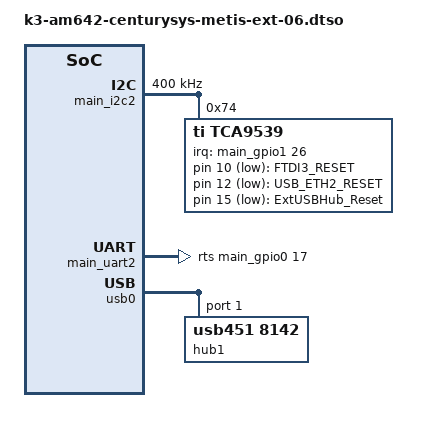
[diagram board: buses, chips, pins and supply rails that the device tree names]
// SPDX-License-Identifier: GPL-2.0
/**
 * DT overlay for RS1244 expansion board on Century Systems MA-X3xx
 *
 * Copyright (C) 2022,2024 Century Systems
 */

/dts-v1/;
/plugin/;
#include <dt-bindings/gpio/gpio.h>
#include <dt-bindings/interrupt-controller/irq.h>
#include <dt-bindings/net/microchip-lan78xx.h>
#include "k3-pinctrl.h"

&{/} {
	aliases {
		ethernet2 = "/bus@f4000/cdns-usb@f900000/usb@f400000/hub@1/hub@1_3/lan7850@1_3_4";
	};
};

&main_pmx0 {
	main_spi0_pins_default: main-spi0-pins-default {
		pinctrl-single,pins = <
			AM64X_IOPAD(0x0210, PIN_INPUT, 0) /* (D13) SPI0_CLK */
			AM64X_IOPAD(0x0208, PIN_OUTPUT, 0) /* (D12) SPI0_CS0 */
			AM64X_IOPAD(0x020c, PIN_OUTPUT, 0) /* (C13) SPI0_CS1 */
			AM64X_IOPAD(0x0214, PIN_OUTPUT, 0) /* (A13) SPI0_D0 */
			AM64X_IOPAD(0x0218, PIN_INPUT, 0) /* (A14) SPI0_D1 */
		>;
	};

	main_uart2_rs485_pins_default: main-uart2-rs485-default-pins {
		pinctrl-single,pins = <
			AM64X_IOPAD(0x003c, PIN_INPUT, 2) 		/* (T20) UART2_RXD */
			AM64X_IOPAD(0x0040, PIN_OUTPUT, 2)		/* (U21) UART2_TXD */
			AM64X_IOPAD(0x0044, PIN_OUTPUT, 7)		/* (T18) GPIO0_17 */
		>;
	};

	main_i2c2_tca9539_pins_default: main-i2c2-tca9539-pins-default {
		pinctrl-single,pins = <
			AM64X_IOPAD(0x01c8, PIN_INPUT, 7) /* (R5) PRG0_PRU1_GPO6.GPIO1_26 */
		>;
	};

	main_i2c2_pca9505_3e_pins_default: main-i2c2-pca9505-3e-pins-default {
		pinctrl-single,pins = <
			AM64X_IOPAD(0x021c, PIN_INPUT, 7) /* (B14) SPI1_CS0.GPIO1_47 */
		>;
	};

	main_spi0_mcp251863_pins_default: main-spi0-mcp251863-pins-default {
		pinctrl-single,pins = <
			AM64X_IOPAD(0x0220, PIN_INPUT, 7) /* (D14) SPI1_CS1.GPIO1_48 */
		>;
	};
};

&main_i2c2 {
	#address-cells = <1>;
	#size-cells = <0>;
	pinctrl-names = "default";
	pinctrl-0 = <&main_i2c2_pins_default>;
	clock-frequency = <400000>;
	status = "okay";

	tca9539: tca9539@74 {
		compatible = "ti,tca9539";
		reg = <0x74>;
		#address-cells = <1>;
		#size-cells = <0>;
		gpio-controller;
		#gpio-cells = <2>;
		pinctrl-names = "default";
		pinctrl-0 = <&main_i2c2_tca9539_pins_default>;
		interrupt-parent = <&main_gpio1>;
		interrupts = <26 IRQ_TYPE_EDGE_FALLING>;
		interrupt-controller;
		#interrupt-cells = <2>;

		gpio-line-names = "MSP430_EXT1_RST",
				  "MSP430_EXT1_TEST",
				  "",
				  "",
				  "",
				  "",
				  "",
				  "",
				  "FTDI1_RESET_N",
				  "FTDI2_RESET_N",
				  "FTDI3_RESET_N",
				  "CAN_LDO5V_EN",
				  "ETH2_RESET_N",
				  "",
				  "",
				  "ExtUSB_HUB_RESET";
	};
};

&main_uart2 {
	pinctrl-names = "default";
	pinctrl-0 = <&main_uart2_rs485_pins_default>;
	linux,rs485-enabled-at-boot-time;
	rts-gpios = <&main_gpio0 17 GPIO_ACTIVE_HIGH>;
	status = "okay";
};

&usb0 {
	#address-cells = <1>;
	#size-cells = <0>;

	hub1: hub@1 {
		compatible = "usb451,8142";
		#address-cells = <1>;
		#size-cells = <0>;
		reg = <1>;

		hub2: hub@1_3 {
			compatible = "usb451,8142";
			#address-cells = <1>;
			#size-cells = <0>;
			reg = <3>;

			lan7850: lan7850@1_3_4 {
				compatible = "usb424,7850";
				#address-cells = <1>;
				#size-cells = <0>;
				reg = <4>;
				mac-address = [00 00 00 00 00 00];

				mdio {
					#address-cells = <0x1>;
					#size-cells = <0x0>;
					eth_phy: ethernet-phy@1 {
						reg = <1>;
						microchip,led-modes = <
							LAN78XX_LINK_1000_ACTIVITY
							LAN78XX_LINK_100_ACTIVITY
							LAN78XX_LINK_ACTIVITY
						>;
					};
				};
			};
		};
	};
};

&{/} {
	leds_ext: leds_ext {
		compatible = "gpio-leds";
		status = "okay";

		ftdi3_reset {
			label = "FTDI3_RESET";
			gpios = <&tca9539 10 GPIO_ACTIVE_LOW>;
			linux,default-trigger = "oneshot";
			led-pattern = <200 100>;
		};

		eth2_reset {
			label = "USB_ETH2_RESET";
			gpios = <&tca9539 12 GPIO_ACTIVE_LOW>;
			linux,default-trigger = "oneshot";
			led-pattern = <200 100>;
		};

		usb_hub_reset {
			label = "ExtUSBHub_Reset";
			gpios = <&tca9539 15 GPIO_ACTIVE_LOW>;
			linux,default-trigger = "oneshot";
			led-pattern = <50 100>;
		};
	};
};
